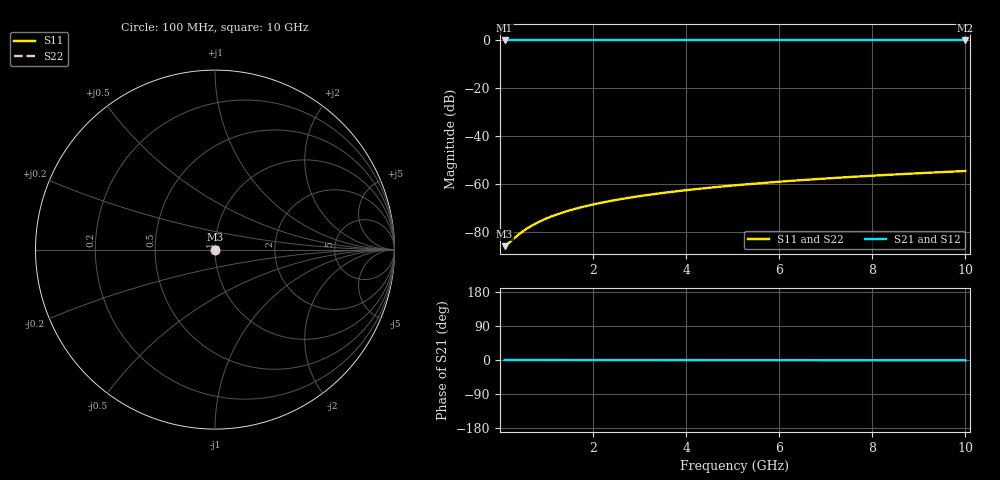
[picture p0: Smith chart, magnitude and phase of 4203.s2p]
# Hz S RI R 50.00
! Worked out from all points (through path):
!   100 points, 100 MHz to 10 GHz, reference 50 ohm
!   highest |S21| = 0.00 dB at 100 MHz (marker M1); lowest = 0.0 dB at 10 GHz (marker M2)
!   lowest |S11| = -85.7 dB at 100 MHz (marker M3), VSWR 1.00, Z = 50 + j0.0019 ohm
!   |S11| at or under -10 dB: start of sweep to end of sweep
!   |S22| runs from -85.7 to -54.4 dB; largest |S21 - S12| = 0
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1e8  4.83e-05 1.9e-05  1 -0.000113  1 -0.000113  4.83e-05 1.9e-05
4e8  4.9e-05 7.6e-05  0.9999 -0.000453  0.9999 -0.000453  4.9e-05 7.6e-05
5e8  4.91e-05 9.5e-05  0.9999 -0.000566  0.9999 -0.000566  4.91e-05 9.5e-05
6e8  4.92e-05 0.000114  0.9999 -0.00068  0.9999 -0.00068  4.92e-05 0.000114
7e8  4.94e-05 0.000133  0.9999 -0.000793  0.9999 -0.000793  4.94e-05 0.000133
8e8  4.95e-05 0.000152  0.9999 -0.000906  0.9999 -0.000906  4.95e-05 0.000152
1e9  4.97e-05 0.00019  0.9999 -0.00113  0.9999 -0.00113  4.97e-05 0.00019
1.2e9  4.99e-05 0.000228  0.9999 -0.00136  0.9999 -0.00136  4.99e-05 0.000228
1.4e9  5.01e-05 0.000266  0.9999 -0.00159  0.9999 -0.00159  5.01e-05 0.000266
1.6e9  5.03e-05 0.000304  0.9999 -0.00181  0.9999 -0.00181  5.03e-05 0.000304
1.8e9  5.05e-05 0.000342  0.9999 -0.00204  0.9999 -0.00204  5.05e-05 0.000342
2.1e9  5.09e-05 0.000399  0.9999 -0.00238  0.9999 -0.00238  5.09e-05 0.000399
2.5e9  5.14e-05 0.000475  0.9999 -0.00283  0.9999 -0.00283  5.14e-05 0.000475
2.9e9  5.19e-05 0.000551  0.9999 -0.00329  0.9999 -0.00329  5.19e-05 0.000551
3.4e9  5.27e-05 0.000645  0.9999 -0.00386  0.9999 -0.00386  5.27e-05 0.000645
4.2e9  5.41e-05 0.000797  0.9999 -0.00477  0.9999 -0.00477  5.41e-05 0.000797
5.1e9  5.61e-05 0.000968  0.9999 -0.00579  0.9999 -0.00579  5.61e-05 0.000968
5.9e9  5.81e-05 0.00112  0.9999 -0.00671  0.9999 -0.00671  5.81e-05 0.00112
6.7e9  6.04e-05 0.00127  0.9999 -0.00762  0.9999 -0.00762  6.04e-05 0.00127
7.5e9  6.29e-05 0.00143  0.9999 -0.00854  0.9999 -0.00854  6.29e-05 0.00143
8.4e9  6.62e-05 0.0016  0.9999 -0.00957  0.9999 -0.00957  6.62e-05 0.0016
1e10  7.29e-05 0.00191  0.9999 -0.0114  0.9999 -0.0114  7.29e-05 0.00191
